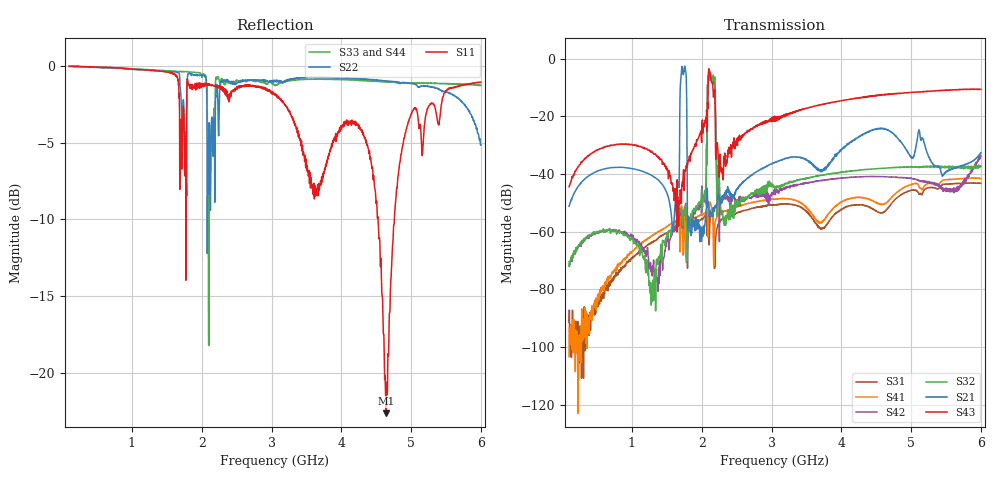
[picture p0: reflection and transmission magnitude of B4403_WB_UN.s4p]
! Matrix data file written by TouchstoneData, EPCOS AG
! FILENAME: "newformat_AA36A_x6y6_WB.s4p"
! COMMENT: "(AA36A_x6y6_WB.s4p) EPCOS AG 15.06.2012 10:1"
! INFO: nport=4, nfreq=1601
! DATE: "Mon Aug  6 18:25:02 2012"
! USER: "Michael Schemies"
! port | pin | signal
!  1  |  3  |  Tx
!  2  |  6  |  Ant
!  3  |  8  |  Rx
!  4  |  1  |  Rx
# MHZ S MA R 50
! freq  magS11 angS11  magS12 angS12  magS13 angS13  magS14 angS14  ...
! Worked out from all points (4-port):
!   1601 points, 100 MHz to 6 GHz, reference 50 ohm
!   strongest paths, dB at 100 MHz, 1.575 GHz, 3.05 GHz, 4.525 GHz, 6 GHz:
!     S43: -44.4, -43.7, -20.6, -12.8, -10.6
!     S21: -51.2, -57.1, -36.0, -24.3, -32.6
!     S32: -70.4, -58.8, -44.6, -38.1, -37.3
!     S42: -71.8, -61.1, -46.5, -40.9, -33.8
!     S41: -103.4, -57.0, -48.7, -50.1, -41.6
!     S31: -91.5, -59.2, -50.6, -53.1, -43.3
!   lowest |S11| = -22.6 dB at 4.639 GHz (marker M1), VSWR 1.16, Z = 44.8 - j4.74 ohm
!   |S11| at or under -10 dB: 1.772178 GHz to 1.77607 GHz (3.892 MHz wide, 0.219 % of centre); 4.527 GHz to 4.76 GHz (233 MHz wide, 5.02 % of centre)
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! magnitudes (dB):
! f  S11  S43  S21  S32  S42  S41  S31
! 100 MHz  0.0  -44.4  -51.2  -70.4  -71.8  -103.4  -91.5
! 1.586 GHz  -0.5  -44.9  -60.2  -58.0  -59.8  -56.8  -59.0
! 1.741 GHz  -2.8  -38.5  -5.2  -53.1  -54.4  -67.6  -62.1
! 2.121 GHz  -1.2  -5.3  -53.5  -5.4  -4.8  -49.8  -55.4
! 2.331 GHz  -1.5  -32.7  -47.8  -56.5  -48.2  -53.0  -55.5
! 4.639 GHz  -22.6  -12.5  -24.5  -38.0  -41.0  -50.2  -52.7
! 6 GHz  -1.0  -10.6  -32.6  -37.3  -33.8  -41.6  -43.3
